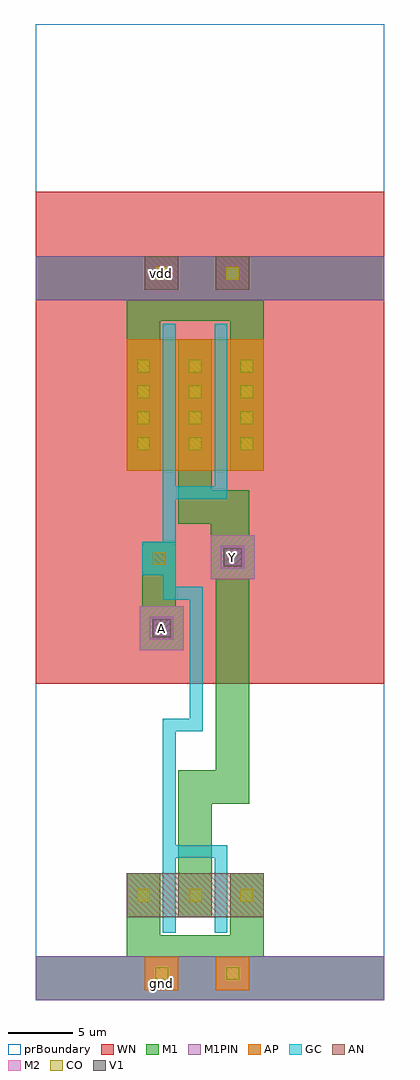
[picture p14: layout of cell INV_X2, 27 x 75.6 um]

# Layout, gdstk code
import gdstk
lib = gdstk.Library(unit=1e-6, precision=1e-09)
def R(c, l, rs):  # rectangles x0, y0, x1, y1
    for r in rs: c.add(gdstk.rectangle(r[:2], r[2:], *l))
def A(c, l, x, y, w, h, nx, ny, dx, dy):  # array of equal rectangles
    R(c, l, [(x+i*dx, y+j*dy, x+i*dx+w, y+j*dy+h) for i in range(nx) for j in range(ny)])
def P(c, l, *ps):  # polygons
    for p in ps: c.add(gdstk.Polygon(p, *l))
AP = (3, 1)
AN = (3, 2)
GC = (8, 1)
CO = (11, 0)
M1 = (13, 0)
V1 = (19, 0)
M2 = (20, 0)
M1PIN = (48, 1)
WN = (140, 0)
prBoundary = (235, 4)

inv_x2 = lib.new_cell('INV_X2')
R(inv_x2, AP, [(8.45,0.75,11.05,3.35), (13.95,0.75,16.55,3.35), (7.05,41,17.65,51.2)])
R(inv_x2, AN, [(7.05,6.4,17.65,9.8), (8.45,55,11.05,57.6), (13.95,55,16.55,57.6)])
P(inv_x2, GC, [(9.85,5.2),(9.85,21.8),(11.95,21.8),(11.95,31),(9.85,31),(9.85,32.9),(8.25,32.9),(8.25,35.5),(9.85,35.5),(9.85,52.4),(10.85,52.4),(10.85,39.8),(13.85,39.8),(13.85,52.4),(14.85,52.4),(14.85,38.8),(10.85,38.8),(10.85,32),(12.95,32),(12.95,20.8),(10.85,20.8),(10.85,12),(14.85,12),(14.85,5.2),(13.85,5.2),(13.85,11),(10.85,11),(10.85,5.2)])
A(inv_x2, CO, 7.85, 7.6, 1, 1, 3, 2, 4, 35)
A(inv_x2, CO, 7.85, 44.6, 1, 1, 3, 3, 4, 2)
R(inv_x2, CO, [(9.25,1.55,10.25,2.55), (14.75,1.55,15.75,2.55), (9.05,33.7,10.05,34.7), (9.25,55.8,10.25,56.8), (14.75,55.8,15.75,56.8)])
P(inv_x2, M1, [(0,0),(0,3.4),(7.05,3.4),(7.05,9.8),(9.65,9.8),(9.65,5),(15.05,5),(15.05,9.8),(17.65,9.8),(17.65,3.4),(27,3.4),(27,0)],
  [(8.05,27.1),(8.05,30.5),(8.25,30.5),(8.25,35.5),(10.85,35.5),(10.85,30.5),(11.45,30.5),(11.45,27.1)],
  [(11.05,6.4),(11.05,17.8),(13.95,17.8),(13.95,32.6),(13.55,32.6),(13.55,36.9),(11.05,36.9),(11.05,51.2),(13.65,51.2),(13.65,39.5),(16.55,39.5),(16.55,36),(16.95,36),(16.95,32.6),(16.55,32.6),(16.55,15.2),(13.65,15.2),(13.65,6.4)],
  [(7.05,41),(7.05,54.2),(0,54.2),(0,57.6),(27,57.6),(27,54.2),(17.65,54.2),(17.65,41),(15.05,41),(15.05,52.6),(9.65,52.6),(9.65,41)])
R(inv_x2, V1, [(9.05,28.1,10.45,29.5), (14.55,33.6,15.95,35)])
R(inv_x2, M2, [(8.05,27.1,11.45,30.5), (13.55,32.6,16.95,36)])
R(inv_x2, M1PIN, [(0,0,27,3.4), (8.85,27.9,10.65,29.7), (14.35,33.4,16.15,35.2), (0,54.2,27,57.6)])
R(inv_x2, WN, [(0,24.5,27,62.6)])
R(inv_x2, prBoundary, [(0,0,27,75.6)])
inv_x2.add(gdstk.Label('gnd', (9.75,1.3), layer=48, texttype=0))
inv_x2.add(gdstk.Label('vdd', (9.75,56.3), layer=48, texttype=0))
inv_x2.add(gdstk.Label('A', (9.75,28.8), layer=48, texttype=0))
inv_x2.add(gdstk.Label('Y', (15.25,34.3), layer=48, texttype=0))
inv_x2.add(gdstk.Label('A', (9.75,28.8), layer=49, texttype=0))
inv_x2.add(gdstk.Label('Y', (15.25,34.3), layer=49, texttype=0))

lib.write_gds('INV_X2.gds')
